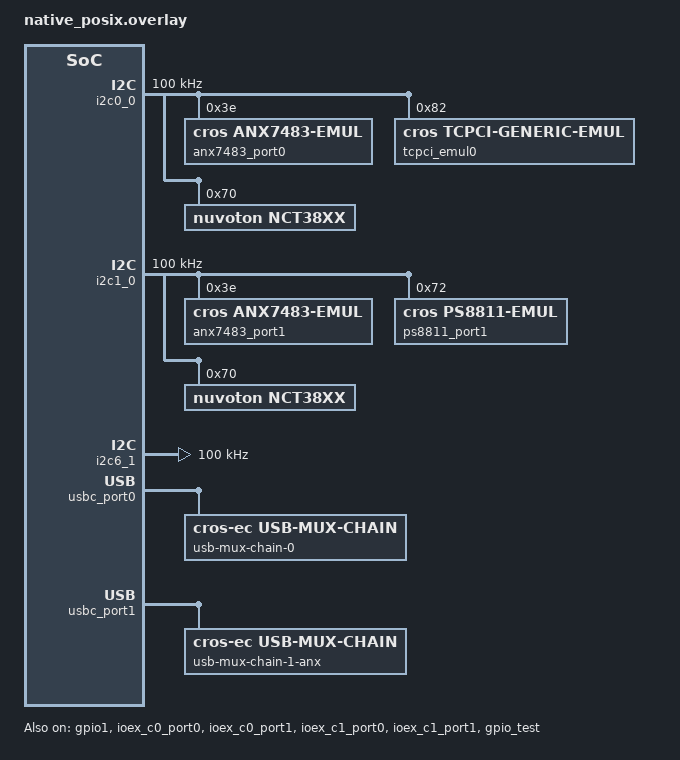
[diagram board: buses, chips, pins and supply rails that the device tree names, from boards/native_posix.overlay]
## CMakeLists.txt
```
# Copyright 2023 The ChromiumOS Authors
# Use of this source code is governed by a BSD-style license that can be
# found in the LICENSE file.

cmake_minimum_required(VERSION 3.13.1)
find_package(Zephyr REQUIRED HINTS "${ZEPHYR_BASE}")
project(skyrim)

zephyr_include_directories("${PLATFORM_EC_PROGRAM_DIR}/skyrim/include")

add_subdirectory(${PLATFORM_EC}/zephyr/test/test_utils test_utils)

add_subdirectory(tests/common)
add_subdirectory_ifdef(CONFIG_TEST_BOARD_BASEBOARD tests/baseboard)
add_subdirectory_ifdef(CONFIG_TEST_BOARD_CRYSTALDRIFT tests/crystaldrift)
add_subdirectory_ifdef(CONFIG_TEST_BOARD_FROSTFLOW tests/frostflow)
add_subdirectory_ifdef(CONFIG_TEST_BOARD_MARKARTH tests/markarth)
add_subdirectory_ifdef(CONFIG_TEST_BOARD_SKYRIM tests/skyrim)
add_subdirectory_ifdef(CONFIG_TEST_BOARD_WINTERHOLD tests/winterhold)
```

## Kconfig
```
# Copyright 2023 The ChromiumOS Authors
# Use of this source code is governed by a BSD-style license that can be
# found in the LICENSE file.

choice TEST_BOARD_VARIANT
	prompt "Select board variant for tests"
	help
	  Board variant to use for tests

	config TEST_BOARD_BASEBOARD
		bool "Enable baseboard-specific tests"
		help
		Enable baseboard tests.

	config TEST_BOARD_CRYSTALDRIFT
		bool "Enable crystaldrift-specific tests"
		help
		Enable tests for crystaldrift variant.

	config TEST_BOARD_FROSTFLOW
		bool "Enable frostflow-specific tests"
		help
		Enable tests for frostflow variant.

	config TEST_BOARD_MARKARTH
		bool "Enable markarth-specific tests"
		help
		Enable tests for markarth variant.

	config TEST_BOARD_SKYRIM
		bool "Enable skyrim-specific tests"
		help
		Enable tests for skyrim variant.

	config TEST_BOARD_WINTERHOLD
		bool "Enable winterhold-specific tests"
		help
		Enable tests for winterhold variant.

endchoice # TEST_BOARD_VARIANT

config TEST_BOARD_NAME
	string "Board name"
	default "baseboard" if TEST_BOARD_BASEBOARD
	default "crystaldrift" if TEST_BOARD_CRYSTALDRIFT
	default "frostflow" if TEST_BOARD_FROSTFLOW
	default "markarth" if TEST_BOARD_MARKARTH
	default "skyrim" if TEST_BOARD_SKYRIM
	default "winterhold" if TEST_BOARD_WINTERHOLD

config TEST_BOARD_ALT_CHARGER
	bool "Enable alt charger specific tests"

config TEST_BOARD_ALT_CHARGER_CUSTOM
	bool "ENable alt charger tests with a variant-specific test file"
	select TEST_BOARD_ALT_CHARGER

config TEST_BOARD_FAN
	bool "Enable fan tests"

config TEST_BOARD_FAN_CUSTOM
	bool "ENable fan tests with a variant-specific test file"
	select TEST_BOARD_FAN

config TEST_BOARD_FORM_FACTOR
	select PLATFORM_EC_DYNAMIC_MOTION_SENSOR_COUNT
	select PLATFORM_EC_GMR_TABLET_MODE
	select PLATFORM_EC_TABLET_MODE
	bool "Run the tests intended for form factor testing"
	help
	  Include tests which checks accelerometer
	  interrupt and tablet mode.

config TEST_BOARD_I2C_POLICY
	bool "Enable I2C policy tests"

config TEST_BOARD_USB_PD_POLICY
	bool "Enable USB PD policy specific tests"
	select TEST_ENABLE_USB_PD_HOST_CMD

config TEST_BOARD_POWER_SIGNALS
	bool "Enable power signals tests"
	select AP_POWER_CONTROL
	select BOARD_USB_HUB_RESET

config TEST_BOARD_PPC_CONFIG
	bool "Enable PPC config tests"

config TEST_BOARD_PPC_CONFIG_CUSTOM
	bool "ENable PPC config tests with a variant-specific test file"
	select TEST_BOARD_PPC_CONFIG

config TEST_BOARD_USBC_CONFIG
	bool "Enable USB-C config tests"
	select PLATFORM_EC_TCPC_INTERRUPT

config TEST_BOARD_USB_MUX_CONFIG
	bool "Enable USB mux config tests"
	select AP_POWER_CONTROL
	select PLATFORM_EC_USB_MUX_MOCK
	select PLATFORM_EC_USBC_RETIMER_PS8811
	select PLATFORM_EC_USB_MUX_RUNTIME_CONFIG
	select TEST_DISABLE_PLATFORM_EC_USBC

config TEST_BOARD_USB_MUX_CONFIG_CUSTOM
	bool "Enable USB mux config tests with a variant-specific test file"
	select TEST_BOARD_USB_MUX_CONFIG

config TEST_BOARD_KEYBOARD
	bool "Enable keyboard specific tets"

config SKYRIM_LOG_LEVEL
	int "Fake config to allow building"
	default 4 # Log level debug by default

config AP_POWER_CONTROL
	bool "Fake config to enable this feature"

config TEST_ENABLE_USB_PD_HOST_CMD
	bool "Fake config to enable this feature"

config USB_PD_DISCHARGE
	bool "Fake config to enable this feature"

config PLATFORM_EC_USB_MUX_RUNTIME_CONFIG
	bool "Fake config to enable this feature"

config PLATFORM_EC_TCPC_INTERRUPT
	bool "Fake config to enable this feature"

config PLATFORM_EC_USB_PD_TCPM_TCPCI
	bool "Fake config to enable this feature"

config PLATFORM_EC_USB_PD_TCPM_NCT38XX
	bool "Fake config to enable this feature"

config PLATFORM_EC_USB_CHARGER
	bool "Fake config to enable this feature"

config PLATFORM_EC_USB_PD_5V_EN_CUSTOM
	bool "Fake config to enable this feature"

config BOARD_USB_HUB_RESET
	bool "Fake config to enable this feature"

config TEST_DISABLE_INLINE_CHIPSET_IN_STATE
	bool "Disable chipset_in_state inline method"
	help
	  This is used to not define chipset_in_state method as inline
	  function.

source "Kconfig.zephyr"
```

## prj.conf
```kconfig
# Copyright 2023 The ChromiumOS Authors
# Use of this source code is governed by a BSD-style license that can be
# found in the LICENSE file.

CONFIG_ZTEST=y
CONFIG_ZTEST_ASSERT_VERBOSE=1
CONFIG_ASSERT=y

CONFIG_PLATFORM_EC_CBI=y
CONFIG_CROS_EC=y
CONFIG_PLATFORM_EC=y
CONFIG_PLATFORM_EC_HOOKS=y
CONFIG_EMUL=y
CONFIG_GPIO=y
CONFIG_GPIO_GET_CONFIG=y
CONFIG_EMUL_COMMON_I2C=y
CONFIG_PLATFORM_EC_TEST_CC_USBPD=y

CONFIG_PLATFORM_EC_USBC=y
CONFIG_PLATFORM_EC_USB_PD_DISCHARGE=n
CONFIG_PLATFORM_EC_USB_CHARGER=n

CONFIG_AP_X86_AMD=y
```

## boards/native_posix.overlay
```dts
/* Copyright 2023 The ChromiumOS Authors
 * Use of this source code is governed by a BSD-style license that can be
 * found in the LICENSE file.
 */

#include <board-overlays/native_posix.dts>
#include <dt-bindings/gpio_defines.h>

/ {
	/* GPIOs shared by all boards */
	named-gpios {
		compatible = "named-gpios";

		gpio_pg_pwr_s5: pg_pwr_s5 {
			gpios = <&gpio0 0 GPIO_INPUT>;
			enum-name = "GPIO_S5_PGOOD";
		};

		gpio_usb_c0_ppc_int_odl: usb_c0_ppc_int_odl {
			gpios = <&gpio0 3 GPIO_INPUT>;
			enum-name = "GPIO_USB_C0_PPC_INT_ODL";
		};

		gpio_usb_c1_ppc_int_odl: usb_c1_ppc_int_odl {
			gpios = <&gpio0 4 GPIO_INPUT>;
			enum-name = "GPIO_USB_C1_PPC_INT_ODL";
		};

		gpio_accel_gyro_int_l: accel_gyro_int_l {
			gpios = <&gpio0 9 GPIO_INPUT>;
		};

		gpio_lid_accel_int_l: lid_accel_int_l {
			gpios = <&gpio0 10 GPIO_INPUT>;
		};

		tablet_mode_l: tablet_mode_l {
			gpios = <&gpio0 11 GPIO_INPUT>;
			enum-name = "GPIO_TABLET_MODE_L";
		};

		/* Power signals */
		gpio_ec_disable_disp_bl: ec_disable_disp_bl {
			gpios = <&gpio0 13 GPIO_OUTPUT_HIGH>;
			enum-name = "GPIO_ENABLE_BACKLIGHT_L";
		};

		gpio_slp_s3_l: slp_s3_l {
			gpios = <&gpio0 14 GPIO_INPUT>;
			enum-name = "GPIO_PCH_SLP_S3_L";
			alias = "GPIO_PCH_SLP_S0_L";
		};

		gpio_slp_s5_l: slp_s5_l {
			gpios = <&gpio0 15 GPIO_INPUT>;
			enum-name = "GPIO_PCH_SLP_S5_L";
		};

		gpio_s0_pgood: pg_pcore_s0_r_od {
			gpios = <&gpio0 16 GPIO_INPUT>;
			enum-name = "GPIO_S0_PGOOD";
		};

		gpio_prochot_odl: prochot_odl {
			gpios = <&gpio0 17 GPIO_INPUT>;
			enum-name = "GPIO_CPU_PROCHOT";
		};

		gpio_pg_lpddr5_s0_od: pg_lpddr5_s0_od {
			gpios = <&gpio0 18 GPIO_INPUT>;
		};

		gpio_pg_lpddr5_s3_od: pg_lpddr5_s3_od {
			gpios = <&gpio0 19 GPIO_INPUT>;
		};

		gpio_en_pwr_s3: en_pwr_s3 {
			gpios = <&gpio0 20 GPIO_OUTPUT_LOW>;
		};

		gpio_en_pwr_s0_r: en_pwr_s0_r {
			/*
			 * Needs to be configured as I/O to allow tested code to
			 * read this pin.
			 */
			gpios = <&gpio0 21 (GPIO_OUTPUT_LOW | GPIO_INPUT)>;
		};

		gpio_pg_groupc_s0_od: pg_groupc_s0_od {
			gpios = <&gpio0 22 GPIO_INPUT>;
		};

		gpio_en_pwr_pcore_s0_r: en_pwr_pcore_s0_r {
			/*
			 * Needs to be configured as I/O to allow tested code to
			 * read this pin.
			 */
			gpios = <&gpio0 23 (GPIO_OUTPUT_LOW | GPIO_INPUT)>;
		};

		gpio_pcore_ocp_r_l: pcore_ocp_r_l {
			gpios = <&gpio0 24 GPIO_INPUT>;
		};

		/* STB dumping GPIOs */
		gpio_ec_sfh_int_h: ec_sfh_int_h {
			gpios = <&gpio0 25 GPIO_OUTPUT_LOW>;
		};
		gpio_sfh_ec_int_h: sfh_ec_int_h {
			gpios = <&gpio0 26 GPIO_INPUT>;
		};

		gpio_ec_soc_pwr_good: ec_soc_pwr_good {
			gpios = <&gpio0 27 GPIO_OUTPUT_LOW>;
		};

		gpio_ec_soc_pwr_btn_l: ec_soc_pwr_btn_l {
			gpios = <&gpio0 28 GPIO_OUTPUT_HIGH>;
			enum-name = "GPIO_PCH_PWRBTN_L";
		};

		gpio_ec_soc_rsmrst_l: ec_soc_rsmrst_l {
			/*
			 * Needs to be configured as I/O to allow tested code to
			 * read this pin.
			 */
			gpios = <&gpio0 29 (GPIO_OUTPUT_LOW | GPIO_INPUT)>;
			enum-name = "GPIO_PCH_RSMRST_L";
		};

		gpio_soc_thermtrip_odl: soc_thermtrip_odl {
			gpios = <&gpio0 30 GPIO_INPUT>;
		};

		gpio_hub_rst: hub_rst {
			gpios = <&gpio0 31 GPIO_OUTPUT_HIGH>;
		};

		gpio_usb_c0_bc12_int_odl: usb_c0_bc12_int_odl {
			gpios = <&gpio1 0 GPIO_INPUT_PULL_UP>;
			enum-name = "GPIO_USB_C0_BC12_INT_ODL";
		};

		gpio_usb_c1_bc12_int_odl: usb_c1_bc12_int_odl {
			gpios = <&gpio1 1 GPIO_INPUT_PULL_UP>;
			enum-name = "GPIO_USB_C1_BC12_INT_ODL";
		};

		gpio_usb_hub_fault_q_odl: usb_hub_fault_q_odl {
			gpios = <&gpio1 4 GPIO_INPUT>;
		};

		gpio_usb_fault_odl: usb_fault_odl {
			gpios = <&gpio1 7 (GPIO_INPUT | GPIO_OUTPUT)>;
		};

		gpio_usb_c0_tcpc_rst_l: usb_c0_tcpc_rst_l {
			gpios = <&gpio1 8 (GPIO_OUTPUT_HIGH | GPIO_ACTIVE_LOW)>;
			enum-name = "GPIO_USB_C0_TCPC_RST_L";
		};

		gpio_test_nct38xx0_rst: test_nct38xx0_rst {
			gpios = <&gpio_test 0 (GPIO_INPUT | GPIO_OUTPUT_HIGH | GPIO_ACTIVE_LOW)>;
		};

		gpio_test_nct38xx1_rst: test_nct38xx1_rst {
			gpios = <&gpio_test 1 (GPIO_INPUT | GPIO_OUTPUT_HIGH | GPIO_ACTIVE_LOW)>;
		};

		/* IO expander ports. Each port needs 8 pins to test the nct38xx reset code. */
		test_ioex_c0_port0_p0 {
			gpios = <&ioex_c0_port0 0 GPIO_OUTPUT>;
		};

		test_ioex_c0_port0_p1 {
			gpios = <&ioex_c0_port0 1 GPIO_OUTPUT>;
		};

		test_ioex_c0_port0_p2 {
			gpios = <&ioex_c0_port0 2 GPIO_OUTPUT>;
		};

		test_ioex_c0_port0_p3 {
			gpios = <&ioex_c0_port0 3 GPIO_OUTPUT>;
		};

		gpio_usb_c0_tcpc_fastsw_ctl_en: usb_c0_tcpc_fastsw_ctl_en {
			gpios = <&ioex_c0_port0 4 GPIO_OUTPUT_LOW>;
			enum-name = "IOEX_USB_C0_TCPC_FASTSW_CTL_EN";
		};

		test_ioex_c0_port0_p5 {
			gpios = <&ioex_c0_port0 5 GPIO_OUTPUT>;
		};

		test_ioex_c0_port0_p6 {
			gpios = <&ioex_c0_port0 6 GPIO_OUTPUT>;
		};

		test_ioex_c0_port0_p7 {
			gpios = <&ioex_c0_port0 7 GPIO_OUTPUT>;
		};

		test_ioex_c0_port1_p0 {
			gpios = <&ioex_c0_port1 0 GPIO_OUTPUT>;
		};

		ioex_usb_c0_ilim_3a_en: usb_c0_ppc_ilim_3a_en {
			gpios = <&ioex_c0_port1 1 GPIO_OUTPUT_LOW>;
			enum-name = "IOEX_USB_C0_PPC_ILIM_3A_EN";
		};

		ioex_usb_c0_sbu_fault_odl: usb_c0_sbu_fault_odl {
			gpios = <&ioex_c0_port1 2 GPIO_INPUT>;
		};

		test_ioex_c0_port1_p3 {
			gpios = <&ioex_c0_port1 3 GPIO_OUTPUT>;
		};

		test_ioex_c0_port1_p4 {
			gpios = <&ioex_c0_port1 4 GPIO_OUTPUT>;
		};

		test_ioex_c0_port1_p5 {
			gpios = <&ioex_c0_port1 5 GPIO_OUTPUT>;
		};

		ioex_usb_a0_fault_odl: usb_a0_fault_odl {
			gpios = <&ioex_c0_port1 6 GPIO_INPUT>;
		};

		ioex_usb_c0_sbu_flip: usb_c0_sbu_flip {
			gpios = <&ioex_c0_port1 7 GPIO_OUTPUT_LOW>;
			enum-name = "IOEX_USB_C0_SBU_FLIP";
		};

		/* C1 */
		usb_a1_retimer_en: usb_a1_retimer_en {
			gpios = <&ioex_c1_port0 0 GPIO_OUTPUT_LOW>;
			enum-name = "IOEX_USB_A1_RETIMER_EN";
		};

		test_ioex_c1_port0_p1 {
			gpios = <&ioex_c1_port0 1 GPIO_OUTPUT>;
		};

		test_ioex_c1_port0_p2 {
			gpios = <&ioex_c1_port0 2 GPIO_OUTPUT>;
		};

		gpio_usb_c1_in_hpd: usb_c1_in_hpd {
			gpios = <&ioex_c1_port0 3 GPIO_OUTPUT_LOW>;
			enum-name = "IOEX_USB_C1_HPD_IN_DB";
		};

		gpio_usb_c1_tcpc_fastsw_ctl_en: usb_c1_tcpc_fastsw_ctl_en {
			gpios = <&ioex_c1_port0 4 GPIO_OUTPUT_LOW>;
			enum-name = "IOEX_USB_C1_TCPC_FASTSW_CTL_EN";
		};

		test_ioex_c1_port0_p5 {
			gpios = <&ioex_c1_port0 5 GPIO_OUTPUT>;
		};

		test_ioex_c1_port0_p6 {
			gpios = <&ioex_c1_port0 6 GPIO_OUTPUT>;
		};

		test_ioex_c1_port0_p7 {
			gpios = <&ioex_c1_port0 7 GPIO_OUTPUT>;
		};

		test_ioex_c1_port1_p0 {
			gpios = <&ioex_c1_port1 0 GPIO_OUTPUT>;
		};

		test_ioex_c1_port1_p1 {
			gpios = <&ioex_c1_port1 1 GPIO_OUTPUT>;
		};

		ioex_usb_c1_sbu_fault_odl: usb_c1_sbu_fault_odl {
			gpios = <&ioex_c1_port1 2 GPIO_INPUT>;
			enum-name = "IOEX_USB_C1_FAULT_ODL";
		};

		test_ioex_c1_port1_p3 {
			gpios = <&ioex_c1_port1 3 GPIO_OUTPUT>;
		};

		test_ioex_c1_port1_p4 {
			gpios = <&ioex_c1_port1 4 GPIO_OUTPUT>;
		};

		test_ioex_c1_port1_p5 {
			gpios = <&ioex_c1_port1 5 GPIO_OUTPUT>;
		};

		ioex_usb_a1_fault_db_odl: usb_a1_fault_db_odl {
			gpios = <&ioex_c1_port1 6 GPIO_INPUT>;
		};

		ioex_usb_c1_sbu_flip: usb_c1_sbu_flip {
			gpios = <&ioex_c1_port1 7 GPIO_OUTPUT_LOW>;
			enum-name = "IOEX_USB_C1_SBU_FLIP";
		};
	};

	gpio1: gpio@1000 {
		status = "okay";
		compatible = "zephyr,gpio-emul";
		reg = <0x1000 0x4>;
		rising-edge;
		falling-edge;
		high-level;
		low-level;
		gpio-controller;
		#gpio-cells = <2>;
		ngpios = <32>;
	};

	ioex_c0_port0: gpio@1100 {
		status = "okay";
		compatible = "zephyr,gpio-emul";
		reg = <0x1100 0x4>;
		rising-edge;
		falling-edge;
		high-level;
		low-level;
		gpio-controller;
		#gpio-cells = <2>;
		ngpios = <8>;
	};

	ioex_c0_port1: gpio@1200 {
		status = "okay";
		compatible = "zephyr,gpio-emul";
		reg = <0x1200 0x4>;
		rising-edge;
		falling-edge;
		high-level;
		low-level;
		gpio-controller;
		#gpio-cells = <2>;
		ngpios = <8>;
	};

	ioex_c1_port0: gpio@1300 {
		status = "okay";
		compatible = "zephyr,gpio-emul";
		reg = <0x1300 0x4>;
		rising-edge;
		falling-edge;
		high-level;
		low-level;
		gpio-controller;
		#gpio-cells = <2>;
		ngpios = <8>;
	};

	ioex_c1_port1: gpio@1400 {
		status = "okay";
		compatible = "zephyr,gpio-emul";
		reg = <0x1400 0x4>;
		rising-edge;
		falling-edge;
		high-level;
		low-level;
		gpio-controller;
		#gpio-cells = <2>;
		ngpios = <8>;
	};

	gpio_test: gpio@1500 {
		status = "okay";
		compatible = "zephyr,gpio-emul";
		reg = <0x1500 0x4>;
		rising-edge;
		falling-edge;
		high-level;
		low-level;
		gpio-controller;
		#gpio-cells = <2>;
		ngpios = <32>;
	};

	gpio-interrupts {
		compatible = "cros-ec,gpio-interrupts";

		int_accel_gyro: accel_gyro {
			irq-pin = <&gpio_accel_gyro_int_l>;
			flags = <GPIO_INT_EDGE_FALLING>;
			handler = "bmi3xx_interrupt";
		};

		int_lid_accel: lid_accel {
			irq-pin = <&gpio_lid_accel_int_l>;
			flags = <GPIO_INT_EDGE_FALLING>;
			handler = "bma4xx_interrupt";
		};

		int_pg_groupc_s0: pg_groupc_s0 {
			irq-pin = <&gpio_pg_groupc_s0_od>;
			flags = <GPIO_INT_EDGE_BOTH>;
			handler = "power_interrupt_handler";
		};

		int_pg_lpddr_s0: pg_lpddr_s0 {
			irq-pin = <&gpio_pg_lpddr5_s0_od>;
			flags = <GPIO_INT_EDGE_BOTH>;
			handler = "power_interrupt_handler";
		};

		int_pg_lpddr_s3: pg_lpddr_s3 {
			irq-pin = <&gpio_pg_lpddr5_s3_od>;
			flags = <GPIO_INT_EDGE_BOTH>;
			handler = "power_interrupt_handler";
		};

		int_prochot: prochot {
			irq-pin = <&gpio_prochot_odl>;
			flags = <GPIO_INT_EDGE_BOTH>;
			handler = "throttle_ap_prochot_input_interrupt";
		};

		int_soc_pcore_ocp: soc_pcore_ocp {
			irq-pin = <&gpio_pcore_ocp_r_l>;
			flags = <GPIO_INT_EDGE_FALLING>;
			handler = "baseboard_soc_pcore_ocp";
		};

		int_soc_thermtrip: soc_thermtrip {
			irq-pin = <&gpio_soc_thermtrip_odl>;
			flags = <GPIO_INT_EDGE_FALLING>;
			handler = "baseboard_soc_thermtrip";
		};

		int_stb_dump: stb_dump {
			irq-pin = <&gpio_sfh_ec_int_h>;
			flags = <GPIO_INT_EDGE_RISING>;
			handler = "power_interrupt_handler";
		};

		int_usb_c0_ppc: usb_c0_ppc {
			irq-pin = <&gpio_usb_c0_ppc_int_odl>;
			flags = <GPIO_INT_EDGE_FALLING>;
			handler = "ppc_interrupt";
		};

		int_usb_c1_ppc: usb_c1_ppc {
			irq-pin = <&gpio_usb_c1_ppc_int_odl>;
			flags = <GPIO_INT_EDGE_FALLING>;
			handler = "ppc_interrupt";
		};

		int_usb_c0_bc12: usb_c0_bc12 {
			irq-pin = <&gpio_usb_c0_bc12_int_odl>;
			flags = <GPIO_INT_EDGE_FALLING>;
			handler = "bc12_interrupt";
		};

		int_usb_c1_bc12: usb_c1_bc12 {
			irq-pin = <&gpio_usb_c1_bc12_int_odl>;
			flags = <GPIO_INT_EDGE_FALLING>;
			handler = "bc12_interrupt";
		};

		int_usb_c0_sbu_fault: c0_sbu_fault {
			irq-pin = <&ioex_usb_c0_sbu_fault_odl>;
			flags = <GPIO_INT_EDGE_FALLING>;
			handler = "sbu_fault_interrupt";
		};

		int_usb_c1_sbu_fault: c1_sbu_fault {
			irq-pin = <&ioex_usb_c1_sbu_fault_odl>;
			flags = <GPIO_INT_EDGE_FALLING>;
			handler = "sbu_fault_interrupt";
		};

		int_usb_hub_fault: hub_fault {
			irq-pin = <&gpio_usb_hub_fault_q_odl>;
			flags = <GPIO_INT_EDGE_BOTH>;
			handler = "usb_fault_interrupt";
		};

		int_usb_a0_fault: a0_fault {
			irq-pin = <&ioex_usb_a0_fault_odl>;
			flags = <GPIO_INT_EDGE_BOTH>;
			handler = "usb_fault_interrupt";
		};

		int_usb_a1_fault: a1_fault {
			irq-pin = <&ioex_usb_a1_fault_db_odl>;
			flags = <GPIO_INT_EDGE_BOTH>;
			handler = "usb_fault_interrupt";
		};

		int_test_nct38xx0_rst: test_nct38xx0_rst {
			irq-pin = <&gpio_test_nct38xx0_rst>;
			flags = <GPIO_INT_EDGE_BOTH>;
			handler = "test_nct38xx0_interrupt";
		};

		int_test_nct38xx1_rst: test_nct38xx1_rst {
			irq-pin = <&gpio_test_nct38xx1_rst>;
			flags = <GPIO_INT_EDGE_BOTH>;
			handler = "test_nct38xx1_interrupt";
		};
	};

	named-i2c-ports {
		compatible = "named-i2c-ports";

		i2c_tcpc0: tcpc0 {
			i2c-port = <&i2c0_0>;
			enum-names = "I2C_PORT_TCPC0";
		};

		i2c_tcpc1: tcpc1 {
			i2c-port = <&i2c1_0>;
			enum-names = "I2C_PORT_TCPC1";
		};

		i2c_sensor: sensor {
			i2c-port = <&i2c6_1>;
			enum-names = "I2C_PORT_SENSOR";
		};
	};

	i2c0_0: i2c@400 {
		status = "okay";
		compatible = "zephyr,i2c-emul-controller";
		clock-frequency = <I2C_BITRATE_STANDARD>;
		#address-cells = <1>;
		#size-cells = <0>;
		reg = <0x400 4>;

		anx7483_port0: anx7483_emul0@3e {
			compatible = "cros,anx7483-emul", "analogix,anx7483";
			reg = <0x3e>;
			board-set = "board_anx7483_c0_mux_set";
		};

		/* Not used directly, present to pull-in TCPCI emulator code. */
		tcpci_emul0@82 {
			compatible = "cros,tcpci-generic-emul";
			reg = <0x82>;
		};

		nct38xx@70 {
			compatible = "nuvoton,nct38xx";
			reg = <0x70>;

			tcpc_port0: nct38xx-tcpc {
				compatible = "cros,nct38xx-emul",
					"nuvoton,nct38xx-tcpc";
				rst-gpios = <&gpio_test 0 GPIO_ACTIVE_LOW>;
			};
		};
	};

	i2c1_0: i2c@500 {
		status = "okay";
		compatible = "zephyr,i2c-emul-controller";
		clock-frequency = <I2C_BITRATE_STANDARD>;
		#address-cells = <1>;
		#size-cells = <0>;
		reg = <0x500 4>;

		anx7483_port1: anx7483_emul1@3e {
			compatible = "cros,anx7483-emul", "analogix,anx7483";
			reg = <0x3e>;
			board-set = "board_anx7483_c1_mux_set";
		};

		ps8811_port1: ps8811_emul@72 {
			compatible = "cros,ps8811-emul";
			reg = <0x72>;
		};

		nct38xx@70 {
			compatible = "nuvoton,nct38xx";
			reg = <0x70>;

			tcpc_port1: nc38xx-tcpc {
				compatible = "cros,nct38xx-emul",
					"nuvoton,nct38xx-tcpc";
				rst-gpios = <&gpio_test 1 GPIO_ACTIVE_LOW>;
			};
		};
	};

	i2c6_1: i2c@600 {
		status = "okay";
		compatible = "zephyr,i2c-emul-controller";
		clock-frequency = <I2C_BITRATE_STANDARD>;
		#address-cells = <1>;
		#size-cells = <0>;
		reg = <0x600 4>;
	};

	skyrim-fw-config {
		compatible = "cros-ec,cbi-fw-config";

		form-factor {
			enum-name = "FW_FORM_FACTOR";
			start = <0>;
			size = <1>;

			ff-clamshell {
				compatible = "cros-ec,cbi-fw-config-value";
				enum-name = "FW_FF_CLAMSHELL";
				value = <0>;
			};
			ff-convertible {
				compatible = "cros-ec,cbi-fw-config-value";
				enum-name = "FW_FF_CONVERTIBLE";
				value = <1>;
				default;
			};
		};

		io-db {
			enum-name = "FW_IO_DB";
			start = <6>;
			size = <2>;

			io-db-ps8811-ps8818 {
				compatible = "cros-ec,cbi-fw-config-value";
				enum-name = "FW_IO_DB_PS8811_PS8818";
				value = <0>;
			};
			io-db-none-anx7483 {
				compatible = "cros-ec,cbi-fw-config-value";
				enum-name = "FW_IO_DB_NONE_ANX7483";
				value = <1>;
				default;
			};
		};

		fan {
			enum-name = "FW_FAN";
			start = <10>;
			size = <1>;

			no-fan {
				compatible = "cros-ec,cbi-fw-config-value";
				enum-name = "FW_FAN_NOT_PRESENT";
				value = <0>;
			};
			fan-present {
				compatible = "cros-ec,cbi-fw-config-value";
				enum-name = "FW_FAN_PRESENT";
				value = <1>;
				/*
				 * Set as default so that unprovisioned
				 * configs will run the fan regardless.
				 */
				default;
			};
		};

		charger-option {
			enum-name = "FW_CHARGER";
			start = <11>;
			size = <2>;

			charger-option-isl9241 {
				compatible = "cros-ec,cbi-fw-config-value";
				enum-name = "FW_CHARGER_ISL9241";
				value = <0>;
				default;
			};
			charger-option-isl9538 {
				compatible = "cros-ec,cbi-fw-config-value";
				enum-name = "FW_CHARGER_ISL9538";
				value = <1>;
			};
		};
	};

	usbc {
		#address-cells = <1>;
		#size-cells = <0>;

		usbc_port0: port0@0 {
			compatible = "named-usbc-port";
			reg = <0>;
			tcpc = <&tcpc_port0>;

			usb-mux-chain-0 {
				compatible = "cros-ec,usb-mux-chain";
				usb-muxes = <&anx7483_port0>;
			};
		};

		usbc_port1: port1@1 {
			compatible = "named-usbc-port";
			reg = <1>;
			tcpc = <&tcpc_port1>;

			usb-mux-chain-1-anx {
				compatible = "cros-ec,usb-mux-chain";
				usb-muxes = <&anx7483_port1>;
			};
		};
	};
};

&gpio0 {
	ngpios = <32>;
};

&gpio1 {
	ngpios = <32>;
};
```

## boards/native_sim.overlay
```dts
/* Copyright 2023 The ChromiumOS Authors
 * Use of this source code is governed by a BSD-style license that can be
 * found in the LICENSE file.
 */

#include <board-overlays/native_sim.dts>
#include <dt-bindings/gpio_defines.h>

/ {
	/* GPIOs shared by all boards */
	named-gpios {
		compatible = "named-gpios";

		gpio_pg_pwr_s5: pg_pwr_s5 {
			gpios = <&gpio0 0 GPIO_INPUT>;
			enum-name = "GPIO_S5_PGOOD";
		};

		gpio_usb_c0_ppc_int_odl: usb_c0_ppc_int_odl {
			gpios = <&gpio0 3 GPIO_INPUT>;
			enum-name = "GPIO_USB_C0_PPC_INT_ODL";
		};

		gpio_usb_c1_ppc_int_odl: usb_c1_ppc_int_odl {
			gpios = <&gpio0 4 GPIO_INPUT>;
			enum-name = "GPIO_USB_C1_PPC_INT_ODL";
		};

		gpio_accel_gyro_int_l: accel_gyro_int_l {
			gpios = <&gpio0 9 GPIO_INPUT>;
		};

		gpio_lid_accel_int_l: lid_accel_int_l {
			gpios = <&gpio0 10 GPIO_INPUT>;
		};

		tablet_mode_l: tablet_mode_l {
			gpios = <&gpio0 11 GPIO_INPUT>;
			enum-name = "GPIO_TABLET_MODE_L";
		};

		/* Power signals */
		gpio_ec_disable_disp_bl: ec_disable_disp_bl {
			gpios = <&gpio0 13 GPIO_OUTPUT_HIGH>;
			enum-name = "GPIO_ENABLE_BACKLIGHT_L";
		};

		gpio_slp_s3_l: slp_s3_l {
			gpios = <&gpio0 14 GPIO_INPUT>;
			enum-name = "GPIO_PCH_SLP_S3_L";
			alias = "GPIO_PCH_SLP_S0_L";
		};

		gpio_slp_s5_l: slp_s5_l {
			gpios = <&gpio0 15 GPIO_INPUT>;
			enum-name = "GPIO_PCH_SLP_S5_L";
		};

		gpio_s0_pgood: pg_pcore_s0_r_od {
			gpios = <&gpio0 16 GPIO_INPUT>;
			enum-name = "GPIO_S0_PGOOD";
		};

		gpio_prochot_odl: prochot_odl {
			gpios = <&gpio0 17 GPIO_INPUT>;
			enum-name = "GPIO_CPU_PROCHOT";
		};

		gpio_pg_lpddr5_s0_od: pg_lpddr5_s0_od {
			gpios = <&gpio0 18 GPIO_INPUT>;
		};

		gpio_pg_lpddr5_s3_od: pg_lpddr5_s3_od {
			gpios = <&gpio0 19 GPIO_INPUT>;
		};

		gpio_en_pwr_s3: en_pwr_s3 {
			gpios = <&gpio0 20 GPIO_OUTPUT_LOW>;
		};

		gpio_en_pwr_s0_r: en_pwr_s0_r {
			/*
			 * Needs to be configured as I/O to allow tested code to
			 * read this pin.
			 */
			gpios = <&gpio0 21 (GPIO_OUTPUT_LOW | GPIO_INPUT)>;
		};

		gpio_pg_groupc_s0_od: pg_groupc_s0_od {
			gpios = <&gpio0 22 GPIO_INPUT>;
		};

		gpio_en_pwr_pcore_s0_r: en_pwr_pcore_s0_r {
			/*
			 * Needs to be configured as I/O to allow tested code to
			 * read this pin.
			 */
			gpios = <&gpio0 23 (GPIO_OUTPUT_LOW | GPIO_INPUT)>;
		};

		gpio_pcore_ocp_r_l: pcore_ocp_r_l {
			gpios = <&gpio0 24 GPIO_INPUT>;
		};

		/* STB dumping GPIOs */
		gpio_ec_sfh_int_h: ec_sfh_int_h {
			gpios = <&gpio0 25 GPIO_OUTPUT_LOW>;
		};
		gpio_sfh_ec_int_h: sfh_ec_int_h {
			gpios = <&gpio0 26 GPIO_INPUT>;
		};

		gpio_ec_soc_pwr_good: ec_soc_pwr_good {
			gpios = <&gpio0 27 GPIO_OUTPUT_LOW>;
		};

		gpio_ec_soc_pwr_btn_l: ec_soc_pwr_btn_l {
			gpios = <&gpio0 28 GPIO_OUTPUT_HIGH>;
			enum-name = "GPIO_PCH_PWRBTN_L";
		};

		gpio_ec_soc_rsmrst_l: ec_soc_rsmrst_l {
			/*
			 * Needs to be configured as I/O to allow tested code to
			 * read this pin.
			 */
			gpios = <&gpio0 29 (GPIO_OUTPUT_LOW | GPIO_INPUT)>;
			enum-name = "GPIO_PCH_RSMRST_L";
		};

		gpio_soc_thermtrip_odl: soc_thermtrip_odl {
			gpios = <&gpio0 30 GPIO_INPUT>;
		};

		gpio_hub_rst: hub_rst {
			gpios = <&gpio0 31 GPIO_OUTPUT_HIGH>;
		};

		gpio_usb_c0_bc12_int_odl: usb_c0_bc12_int_odl {
			gpios = <&gpio1 0 GPIO_INPUT_PULL_UP>;
			enum-name = "GPIO_USB_C0_BC12_INT_ODL";
		};

		gpio_usb_c1_bc12_int_odl: usb_c1_bc12_int_odl {
			gpios = <&gpio1 1 GPIO_INPUT_PULL_UP>;
			enum-name = "GPIO_USB_C1_BC12_INT_ODL";
		};

		gpio_usb_hub_fault_q_odl: usb_hub_fault_q_odl {
			gpios = <&gpio1 4 GPIO_INPUT>;
		};

		gpio_usb_fault_odl: usb_fault_odl {
			gpios = <&gpio1 7 (GPIO_INPUT | GPIO_OUTPUT)>;
		};

		gpio_usb_c0_tcpc_rst_l: usb_c0_tcpc_rst_l {
			gpios = <&gpio1 8 (GPIO_OUTPUT_HIGH | GPIO_ACTIVE_LOW)>;
			enum-name = "GPIO_USB_C0_TCPC_RST_L";
		};

		gpio_test_nct38xx0_rst: test_nct38xx0_rst {
			gpios = <&gpio_test 0 (GPIO_INPUT | GPIO_OUTPUT_HIGH | GPIO_ACTIVE_LOW)>;
		};

		gpio_test_nct38xx1_rst: test_nct38xx1_rst {
			gpios = <&gpio_test 1 (GPIO_INPUT | GPIO_OUTPUT_HIGH | GPIO_ACTIVE_LOW)>;
		};

		/* IO expander ports. Each port needs 8 pins to test the nct38xx reset code. */
		test_ioex_c0_port0_p0 {
			gpios = <&ioex_c0_port0 0 GPIO_OUTPUT>;
		};

		test_ioex_c0_port0_p1 {
			gpios = <&ioex_c0_port0 1 GPIO_OUTPUT>;
		};

		test_ioex_c0_port0_p2 {
			gpios = <&ioex_c0_port0 2 GPIO_OUTPUT>;
		};

		test_ioex_c0_port0_p3 {
			gpios = <&ioex_c0_port0 3 GPIO_OUTPUT>;
		};

		gpio_usb_c0_tcpc_fastsw_ctl_en: usb_c0_tcpc_fastsw_ctl_en {
			gpios = <&ioex_c0_port0 4 GPIO_OUTPUT_LOW>;
			enum-name = "IOEX_USB_C0_TCPC_FASTSW_CTL_EN";
		};

		test_ioex_c0_port0_p5 {
			gpios = <&ioex_c0_port0 5 GPIO_OUTPUT>;
		};

		test_ioex_c0_port0_p6 {
			gpios = <&ioex_c0_port0 6 GPIO_OUTPUT>;
		};

		test_ioex_c0_port0_p7 {
			gpios = <&ioex_c0_port0 7 GPIO_OUTPUT>;
		};

		test_ioex_c0_port1_p0 {
			gpios = <&ioex_c0_port1 0 GPIO_OUTPUT>;
		};

		ioex_usb_c0_ilim_3a_en: usb_c0_ppc_ilim_3a_en {
			gpios = <&ioex_c0_port1 1 GPIO_OUTPUT_LOW>;
			enum-name = "IOEX_USB_C0_PPC_ILIM_3A_EN";
		};

		ioex_usb_c0_sbu_fault_odl: usb_c0_sbu_fault_odl {
			gpios = <&ioex_c0_port1 2 GPIO_INPUT>;
		};

		test_ioex_c0_port1_p3 {
			gpios = <&ioex_c0_port1 3 GPIO_OUTPUT>;
		};

		test_ioex_c0_port1_p4 {
			gpios = <&ioex_c0_port1 4 GPIO_OUTPUT>;
		};

		test_ioex_c0_port1_p5 {
			gpios = <&ioex_c0_port1 5 GPIO_OUTPUT>;
		};

		ioex_usb_a0_fault_odl: usb_a0_fault_odl {
			gpios = <&ioex_c0_port1 6 GPIO_INPUT>;
		};

		ioex_usb_c0_sbu_flip: usb_c0_sbu_flip {
			gpios = <&ioex_c0_port1 7 GPIO_OUTPUT_LOW>;
			enum-name = "IOEX_USB_C0_SBU_FLIP";
		};

		/* C1 */
		usb_a1_retimer_en: usb_a1_retimer_en {
			gpios = <&ioex_c1_port0 0 GPIO_OUTPUT_LOW>;
			enum-name = "IOEX_USB_A1_RETIMER_EN";
		};

		test_ioex_c1_port0_p1 {
			gpios = <&ioex_c1_port0 1 GPIO_OUTPUT>;
		};

		test_ioex_c1_port0_p2 {
			gpios = <&ioex_c1_port0 2 GPIO_OUTPUT>;
		};

		gpio_usb_c1_in_hpd: usb_c1_in_hpd {
			gpios = <&ioex_c1_port0 3 GPIO_OUTPUT_LOW>;
			enum-name = "IOEX_USB_C1_HPD_IN_DB";
		};

		gpio_usb_c1_tcpc_fastsw_ctl_en: usb_c1_tcpc_fastsw_ctl_en {
			gpios = <&ioex_c1_port0 4 GPIO_OUTPUT_LOW>;
			enum-name = "IOEX_USB_C1_TCPC_FASTSW_CTL_EN";
		};

		test_ioex_c1_port0_p5 {
			gpios = <&ioex_c1_port0 5 GPIO_OUTPUT>;
		};

		test_ioex_c1_port0_p6 {
			gpios = <&ioex_c1_port0 6 GPIO_OUTPUT>;
		};

		test_ioex_c1_port0_p7 {
			gpios = <&ioex_c1_port0 7 GPIO_OUTPUT>;
		};

		test_ioex_c1_port1_p0 {
			gpios = <&ioex_c1_port1 0 GPIO_OUTPUT>;
		};

		test_ioex_c1_port1_p1 {
			gpios = <&ioex_c1_port1 1 GPIO_OUTPUT>;
		};

		ioex_usb_c1_sbu_fault_odl: usb_c1_sbu_fault_odl {
			gpios = <&ioex_c1_port1 2 GPIO_INPUT>;
			enum-name = "IOEX_USB_C1_FAULT_ODL";
		};

		test_ioex_c1_port1_p3 {
			gpios = <&ioex_c1_port1 3 GPIO_OUTPUT>;
		};

		test_ioex_c1_port1_p4 {
			gpios = <&ioex_c1_port1 4 GPIO_OUTPUT>;
		};

		test_ioex_c1_port1_p5 {
			gpios = <&ioex_c1_port1 5 GPIO_OUTPUT>;
		};

		ioex_usb_a1_fault_db_odl: usb_a1_fault_db_odl {
			gpios = <&ioex_c1_port1 6 GPIO_INPUT>;
		};

		ioex_usb_c1_sbu_flip: usb_c1_sbu_flip {
			gpios = <&ioex_c1_port1 7 GPIO_OUTPUT_LOW>;
			enum-name = "IOEX_USB_C1_SBU_FLIP";
		};
	};

	gpio1: gpio@1000 {
		status = "okay";
		compatible = "zephyr,gpio-emul";
		reg = <0x1000 0x4>;
		rising-edge;
		falling-edge;
		high-level;
		low-level;
		gpio-controller;
		#gpio-cells = <2>;
		ngpios = <32>;
	};

	ioex_c0_port0: gpio@1100 {
		status = "okay";
		compatible = "zephyr,gpio-emul";
		reg = <0x1100 0x4>;
		rising-edge;
		falling-edge;
		high-level;
		low-level;
		gpio-controller;
		#gpio-cells = <2>;
		ngpios = <8>;
	};

	ioex_c0_port1: gpio@1200 {
		status = "okay";
		compatible = "zephyr,gpio-emul";
		reg = <0x1200 0x4>;
		rising-edge;
		falling-edge;
		high-level;
		low-level;
		gpio-controller;
		#gpio-cells = <2>;
		ngpios = <8>;
	};

	ioex_c1_port0: gpio@1300 {
		status = "okay";
		compatible = "zephyr,gpio-emul";
		reg = <0x1300 0x4>;
		rising-edge;
		falling-edge;
		high-level;
		low-level;
		gpio-controller;
		#gpio-cells = <2>;
		ngpios = <8>;
	};

	ioex_c1_port1: gpio@1400 {
		status = "okay";
		compatible = "zephyr,gpio-emul";
		reg = <0x1400 0x4>;
		rising-edge;
		falling-edge;
		high-level;
		low-level;
		gpio-controller;
		#gpio-cells = <2>;
		ngpios = <8>;
	};

	gpio_test: gpio@1500 {
		status = "okay";
		compatible = "zephyr,gpio-emul";
		reg = <0x1500 0x4>;
		rising-edge;
		falling-edge;
		high-level;
		low-level;
		gpio-controller;
		#gpio-cells = <2>;
		ngpios = <32>;
	};

	gpio-interrupts {
		compatible = "cros-ec,gpio-interrupts";

		int_accel_gyro: accel_gyro {
			irq-pin = <&gpio_accel_gyro_int_l>;
			flags = <GPIO_INT_EDGE_FALLING>;
			handler = "bmi3xx_interrupt";
		};

		int_lid_accel: lid_accel {
			irq-pin = <&gpio_lid_accel_int_l>;
			flags = <GPIO_INT_EDGE_FALLING>;
			handler = "bma4xx_interrupt";
		};

		int_pg_groupc_s0: pg_groupc_s0 {
			irq-pin = <&gpio_pg_groupc_s0_od>;
			flags = <GPIO_INT_EDGE_BOTH>;
			handler = "power_interrupt_handler";
		};

		int_pg_lpddr_s0: pg_lpddr_s0 {
			irq-pin = <&gpio_pg_lpddr5_s0_od>;
			flags = <GPIO_INT_EDGE_BOTH>;
			handler = "power_interrupt_handler";
		};

		int_pg_lpddr_s3: pg_lpddr_s3 {
			irq-pin = <&gpio_pg_lpddr5_s3_od>;
			flags = <GPIO_INT_EDGE_BOTH>;
			handler = "power_interrupt_handler";
		};

		int_prochot: prochot {
			irq-pin = <&gpio_prochot_odl>;
			flags = <GPIO_INT_EDGE_BOTH>;
			handler = "throttle_ap_prochot_input_interrupt";
		};

		int_soc_pcore_ocp: soc_pcore_ocp {
			irq-pin = <&gpio_pcore_ocp_r_l>;
			flags = <GPIO_INT_EDGE_FALLING>;
			handler = "baseboard_soc_pcore_ocp";
		};

		int_soc_thermtrip: soc_thermtrip {
			irq-pin = <&gpio_soc_thermtrip_odl>;
			flags = <GPIO_INT_EDGE_FALLING>;
			handler = "baseboard_soc_thermtrip";
		};

		int_stb_dump: stb_dump {
			irq-pin = <&gpio_sfh_ec_int_h>;
			flags = <GPIO_INT_EDGE_RISING>;
			handler = "power_interrupt_handler";
		};

		int_usb_c0_ppc: usb_c0_ppc {
			irq-pin = <&gpio_usb_c0_ppc_int_odl>;
			flags = <GPIO_INT_EDGE_FALLING>;
			handler = "ppc_interrupt";
		};

		int_usb_c1_ppc: usb_c1_ppc {
			irq-pin = <&gpio_usb_c1_ppc_int_odl>;
			flags = <GPIO_INT_EDGE_FALLING>;
			handler = "ppc_interrupt";
		};

		int_usb_c0_bc12: usb_c0_bc12 {
			irq-pin = <&gpio_usb_c0_bc12_int_odl>;
			flags = <GPIO_INT_EDGE_FALLING>;
			handler = "bc12_interrupt";
		};

		int_usb_c1_bc12: usb_c1_bc12 {
			irq-pin = <&gpio_usb_c1_bc12_int_odl>;
			flags = <GPIO_INT_EDGE_FALLING>;
			handler = "bc12_interrupt";
		};

		int_usb_c0_sbu_fault: c0_sbu_fault {
			irq-pin = <&ioex_usb_c0_sbu_fault_odl>;
			flags = <GPIO_INT_EDGE_FALLING>;
			handler = "sbu_fault_interrupt";
		};

		int_usb_c1_sbu_fault: c1_sbu_fault {
			irq-pin = <&ioex_usb_c1_sbu_fault_odl>;
			flags = <GPIO_INT_EDGE_FALLING>;
			handler = "sbu_fault_interrupt";
		};

		int_usb_hub_fault: hub_fault {
			irq-pin = <&gpio_usb_hub_fault_q_odl>;
			flags = <GPIO_INT_EDGE_BOTH>;
			handler = "usb_fault_interrupt";
		};

		int_usb_a0_fault: a0_fault {
			irq-pin = <&ioex_usb_a0_fault_odl>;
			flags = <GPIO_INT_EDGE_BOTH>;
			handler = "usb_fault_interrupt";
		};

		int_usb_a1_fault: a1_fault {
			irq-pin = <&ioex_usb_a1_fault_db_odl>;
			flags = <GPIO_INT_EDGE_BOTH>;
			handler = "usb_fault_interrupt";
		};

		int_test_nct38xx0_rst: test_nct38xx0_rst {
			irq-pin = <&gpio_test_nct38xx0_rst>;
			flags = <GPIO_INT_EDGE_BOTH>;
			handler = "test_nct38xx0_interrupt";
		};

		int_test_nct38xx1_rst: test_nct38xx1_rst {
			irq-pin = <&gpio_test_nct38xx1_rst>;
			flags = <GPIO_INT_EDGE_BOTH>;
			handler = "test_nct38xx1_interrupt";
		};
	};

	named-i2c-ports {
		compatible = "named-i2c-ports";

		i2c_tcpc0: tcpc0 {
			i2c-port = <&i2c0_0>;
			enum-names = "I2C_PORT_TCPC0";
		};

		i2c_tcpc1: tcpc1 {
			i2c-port = <&i2c1_0>;
			enum-names = "I2C_PORT_TCPC1";
		};

		i2c_sensor: sensor {
			i2c-port = <&i2c6_1>;
			enum-names = "I2C_PORT_SENSOR";
		};
	};

	i2c0_0: i2c@400 {
		status = "okay";
		compatible = "zephyr,i2c-emul-controller";
		clock-frequency = <I2C_BITRATE_STANDARD>;
		#address-cells = <1>;
		#size-cells = <0>;
		reg = <0x400 4>;

		anx7483_port0: anx7483_emul0@3e {
			compatible = "cros,anx7483-emul", "analogix,anx7483";
			reg = <0x3e>;
			board-set = "board_anx7483_c0_mux_set";
		};

		/* Not used directly, present to pull-in TCPCI emulator code. */
		tcpci_emul0@82 {
			compatible = "cros,tcpci-generic-emul";
			reg = <0x82>;
		};

		nct38xx@70 {
			compatible = "nuvoton,nct38xx";
			reg = <0x70>;

			tcpc_port0: nct38xx-tcpc {
				compatible = "cros,nct38xx-emul",
					"nuvoton,nct38xx-tcpc";
				rst-gpios = <&gpio_test 0 GPIO_ACTIVE_LOW>;
			};
		};
	};

	i2c1_0: i2c@500 {
		status = "okay";
		compatible = "zephyr,i2c-emul-controller";
		clock-frequency = <I2C_BITRATE_STANDARD>;
		#address-cells = <1>;
		#size-cells = <0>;
		reg = <0x500 4>;

		anx7483_port1: anx7483_emul1@3e {
			compatible = "cros,anx7483-emul", "analogix,anx7483";
			reg = <0x3e>;
			board-set = "board_anx7483_c1_mux_set";
		};

		ps8811_port1: ps8811_emul@72 {
			compatible = "cros,ps8811-emul";
			reg = <0x72>;
		};

		nct38xx@70 {
			compatible = "nuvoton,nct38xx";
			reg = <0x70>;

			tcpc_port1: nc38xx-tcpc {
				compatible = "cros,nct38xx-emul",
					"nuvoton,nct38xx-tcpc";
				rst-gpios = <&gpio_test 1 GPIO_ACTIVE_LOW>;
			};
		};
	};

	i2c6_1: i2c@600 {
		status = "okay";
		compatible = "zephyr,i2c-emul-controller";
		clock-frequency = <I2C_BITRATE_STANDARD>;
		#address-cells = <1>;
		#size-cells = <0>;
		reg = <0x600 4>;
	};

	skyrim-fw-config {
		compatible = "cros-ec,cbi-fw-config";

		form-factor {
			enum-name = "FW_FORM_FACTOR";
			start = <0>;
			size = <1>;

			ff-clamshell {
				compatible = "cros-ec,cbi-fw-config-value";
				enum-name = "FW_FF_CLAMSHELL";
				value = <0>;
			};
			ff-convertible {
				compatible = "cros-ec,cbi-fw-config-value";
				enum-name = "FW_FF_CONVERTIBLE";
				value = <1>;
				default;
			};
		};

		io-db {
			enum-name = "FW_IO_DB";
			start = <6>;
			size = <2>;

			io-db-ps8811-ps8818 {
				compatible = "cros-ec,cbi-fw-config-value";
				enum-name = "FW_IO_DB_PS8811_PS8818";
				value = <0>;
			};
			io-db-none-anx7483 {
				compatible = "cros-ec,cbi-fw-config-value";
				enum-name = "FW_IO_DB_NONE_ANX7483";
				value = <1>;
				default;
			};
		};

		fan {
			enum-name = "FW_FAN";
			start = <10>;
			size = <1>;

			no-fan {
				compatible = "cros-ec,cbi-fw-config-value";
				enum-name = "FW_FAN_NOT_PRESENT";
				value = <0>;
			};
			fan-present {
				compatible = "cros-ec,cbi-fw-config-value";
				enum-name = "FW_FAN_PRESENT";
				value = <1>;
				/*
				 * Set as default so that unprovisioned
				 * configs will run the fan regardless.
				 */
				default;
			};
		};

		charger-option {
			enum-name = "FW_CHARGER";
			start = <11>;
			size = <2>;

			charger-option-isl9241 {
				compatible = "cros-ec,cbi-fw-config-value";
				enum-name = "FW_CHARGER_ISL9241";
				value = <0>;
				default;
			};
			charger-option-isl9538 {
				compatible = "cros-ec,cbi-fw-config-value";
				enum-name = "FW_CHARGER_ISL9538";
				value = <1>;
			};
		};

		keyboard {
			enum-name = "FW_KB_LAYOUT";
			start = <13>;
			size = <2>;

			keyboard-default {
				compatible = "cros-ec,cbi-fw-config-value";
				enum-name = "KEYBOARD_DEFAULT";
				value = <0>;
			};
			keyboard-ansi {
				compatible = "cros-ec,cbi-fw-config-value";
				enum-name = "KEYBOARD_ANSI";
				value = <1>;
			};
		};
	};

	usbc {
		#address-cells = <1>;
		#size-cells = <0>;

		usbc_port0: port0@0 {
			compatible = "named-usbc-port";
			reg = <0>;
			tcpc = <&tcpc_port0>;

			usb-mux-chain-0 {
				compatible = "cros-ec,usb-mux-chain";
				usb-muxes = <&anx7483_port0>;
			};
		};

		usbc_port1: port1@1 {
			compatible = "named-usbc-port";
			reg = <1>;
			tcpc = <&tcpc_port1>;

			usb-mux-chain-1-anx {
				compatible = "cros-ec,usb-mux-chain";
				usb-muxes = <&anx7483_port1>;
			};
		};
	};
};

&gpio0 {
	ngpios = <32>;
};

&gpio1 {
	ngpios = <32>;
};
```

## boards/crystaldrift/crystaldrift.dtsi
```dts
/* Copyright 2022 The ChromiumOS Authors
 * Use of this source code is governed by a BSD-style license that can be
 * found in the LICENSE file.
 */

#include <board-overlays/native_sim.dts>
#include <cros/binman.dtsi>
#include <cros/thermistor/thermistor.dtsi>
#include <dt-bindings/gpio_defines.h>
#include <dt-bindings/pwm/pwm.h>
#include <dt-bindings/wake_mask_event_defines.h>
#include <freq.h>

#include "../native_sim.overlay"

/ {
	fan_steps: fan-step {
		compatible = "cros-ec,fan-steps";
		level_0 {
			temp_on = <37>;
			temp_off = <99>;
			rpm_target = <0>;
		};
		level_1 {
			temp_on = <45>;
			temp_off = <38>;
			rpm_target = <3000>;
		};
		level_2 {
			temp_on = <52>;
			temp_off = <47>;
			rpm_target = <3500>;
		};
		level_3 {
			temp_on = <61>;
			temp_off = <56>;
			rpm_target = <4000>;
		};
		level_4 {
			temp_on = <70>;
			temp_off = <68>;
			rpm_target = <4500>;
		};
		level_5 {
			temp_on = <76>;
			temp_off = <73>;
			rpm_target = <4800>;
		};
	};
};
```

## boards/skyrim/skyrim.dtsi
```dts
/* Copyright 2022 The ChromiumOS Authors
 * Use of this source code is governed by a BSD-style license that can be
 * found in the LICENSE file.
 */
#include "../native_sim.overlay"
#include "../../../../program/skyrim/skyrim/motionsense.dtsi"

/ {
	/* Rotation matrices for motion sensors. */
	motionsense-rotation-ref {
		compatible = "cros-ec,motionsense-rotation-ref";
		lid_rot_ref: lid-rotation-ref {
			mat33 = <0 (-1) 0
				 1 0 0
				 0 0 1>;
		};

		lid_rot_ref1: lid-rotation-ref1 {
			mat33 = <0 1 0
				 (-1) 0 0
				 0 0 1>;
		};

		base_rot_ref: base-rotation-ref {
			mat33 = <0 1 0
				 (-1) 0 0
				 0 0 1>;
		};
	};
};
```

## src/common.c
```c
/* Copyright 2023 The ChromiumOS Authors
 * Use of this source code is governed by a BSD-style license that can be
 * found in the LICENSE file.
 */
#include <zephyr/logging/log.h>

LOG_MODULE_REGISTER(skyrim, CONFIG_SKYRIM_LOG_LEVEL);
```
